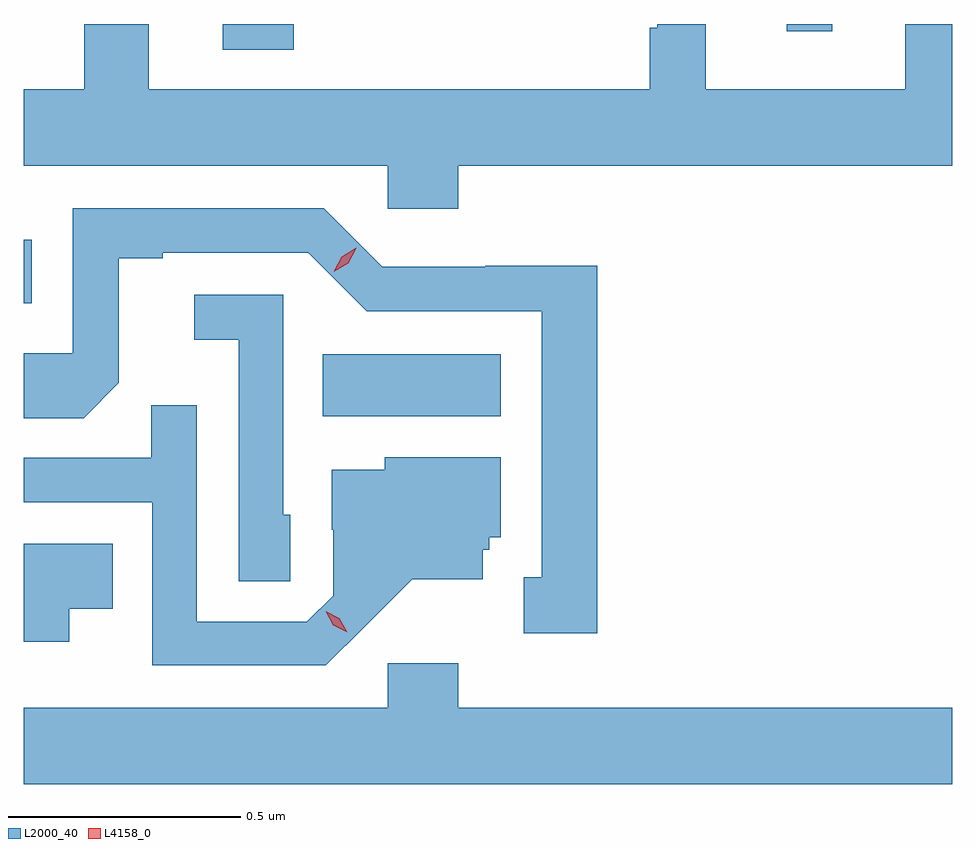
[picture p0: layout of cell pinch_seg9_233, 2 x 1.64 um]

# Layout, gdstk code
import gdstk
lib = gdstk.Library(unit=1e-6, precision=1e-09)
def R(c, l, rs):  # rectangles x0, y0, x1, y1
    for r in rs: c.add(gdstk.rectangle(r[:2], r[2:], *l))
def P(c, l, *ps):  # polygons
    for p in ps: c.add(gdstk.Polygon(p, *l))
L2000_40 = (2000, 40)
L4158_0 = (4158, 0)

pinch_seg9_233 = lib.new_cell('pinch_seg9_233')
R(pinch_seg9_233, L2000_40, [(503.89,1237.172,504.274,1237.306), (503.246,1237.416,503.263,1237.552), (503.675,1237.961,503.828,1238.017), (504.89,1238.001,504.988,1238.017)])
P(pinch_seg9_233, L2000_40, [(504.182,1237.712),(505.246,1237.712),(505.246,1238.017),(505.145,1238.017),(505.145,1237.876),(504.715,1237.876),(504.715,1238.017),(504.611,1238.017),(504.611,1238.009),(504.594,1238.009),(504.594,1237.876),(503.515,1237.876),(503.515,1238.017),(503.376,1238.017),(503.376,1237.876),(503.246,1237.876),(503.246,1237.712),(504.03,1237.712),(504.03,1237.619),(504.182,1237.619)],
  [(504.481,1237.496),(504.24,1237.496),(504.24,1237.494),(504.018,1237.494),(503.892,1237.62),(503.352,1237.62),(503.352,1237.308),(503.246,1237.308),(503.246,1237.168),(503.375,1237.168),(503.451,1237.244),(503.451,1237.512),(503.545,1237.512),(503.545,1237.524),(503.859,1237.524),(503.985,1237.398),(504.362,1237.398),(504.362,1236.825),(504.323,1236.825),(504.323,1236.705),(504.481,1236.705)],
  [(503.82,1236.96),(503.805,1236.96),(503.805,1237.434),(503.613,1237.434),(503.613,1237.337),(503.709,1237.337),(503.709,1236.817),(503.82,1236.817)],
  [(503.98,1236.719),(504.083,1236.821),(504.235,1236.821),(504.235,1236.885),(504.249,1236.885),(504.249,1236.912),(504.274,1236.912),(504.274,1237.084),(504.024,1237.084),(504.024,1237.057),(503.909,1237.057),(503.909,1236.928),(503.913,1236.928),(503.913,1236.786),(503.856,1236.729),(503.619,1236.729),(503.619,1237.196),(503.521,1237.196),(503.521,1237.083),(503.246,1237.083),(503.246,1236.987),(503.523,1236.987),(503.523,1236.636),(503.896,1236.636)],
  [(503.344,1236.758),(503.438,1236.758),(503.438,1236.898),(503.246,1236.898),(503.246,1236.686),(503.344,1236.686)],
  [(505.246,1236.544),(504.182,1236.544),(504.182,1236.64),(504.03,1236.64),(504.03,1236.544),(503.246,1236.544),(503.246,1236.38),(505.246,1236.38)])
P(pinch_seg9_233, L4158_0, [(503.943,1236.707),(503.913,1236.722),(503.896,1236.752),(503.896,1236.752),(503.896,1236.752),(503.926,1236.737),(503.943,1236.707),(503.943,1236.707)],
  [(503.914,1237.483),(503.914,1237.483),(503.931,1237.516),(503.962,1237.535),(503.962,1237.535),(503.962,1237.534),(503.945,1237.502),(503.914,1237.483)])

lib.write_gds('pinch_seg9_233.gds')
